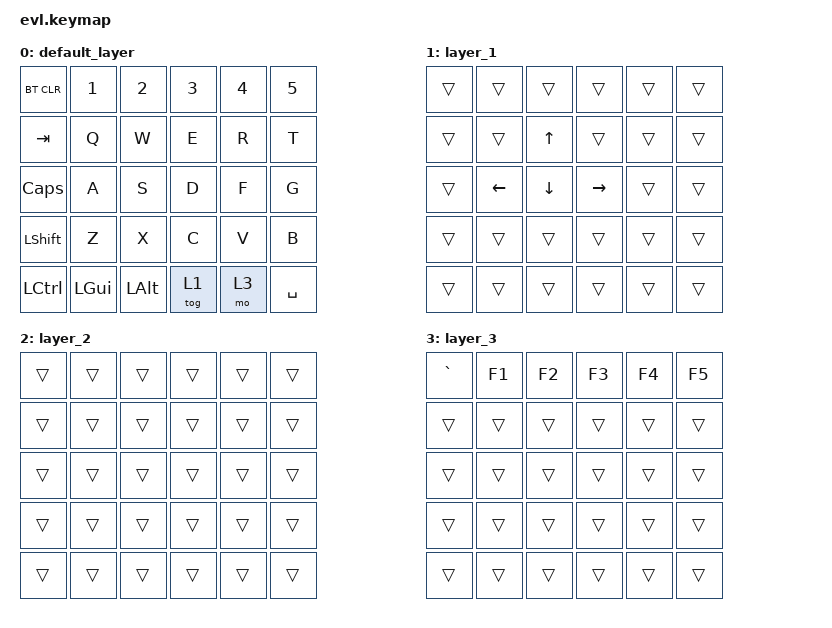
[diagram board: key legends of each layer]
/*
 * Copyright (c) 2020 The ZMK Contributors
 *
 * SPDX-License-Identifier: MIT
 */

#include <behaviors.dtsi>
#include <dt-bindings/zmk/keys.h>
#include <dt-bindings/zmk/bt.h>

/ {
    keymap {
        compatible = "zmk,keymap";

        default_layer: default_layer {
            bindings = <
                &bt BT_CLR  &kp N1   &kp N2   &kp N3   &kp N4   &kp N5
                &kp TAB     &kp Q    &kp W    &kp E    &kp R    &kp T
                &kp CAPS    &kp A    &kp S    &kp D    &kp F    &kp G
                &kp LSHFT   &kp Z    &kp X    &kp C    &kp V    &kp B
                &kp LCTRL   &kp LGUI &kp LALT &tog 1   &mo 3    &kp SPACE
            >;
        };

        layer_1 {
            bindings = <
                &trans     &trans       &trans       &trans       &trans       &trans
                &trans     &trans       &kp UP       &trans       &trans       &trans
                &trans     &kp LEFT     &kp DOWN     &kp RIGHT    &trans       &trans
                &trans     &trans       &trans       &trans       &trans       &trans
                &trans     &trans       &trans       &trans       &trans       &trans
            >;
        };

        layer_2 {
            bindings = <
                &trans    &trans   &trans &trans   &trans   &trans
                &trans    &trans   &trans &trans   &trans   &trans
                &trans    &trans   &trans &trans   &trans   &trans
                &trans    &trans   &trans &trans   &trans   &trans
                &trans    &trans   &trans &trans   &trans   &trans
            >;
        };

        layer_3 {
            bindings = <
                &kp GRAVE  &kp F1       &kp F2       &kp F3       &kp F4       &kp F5
                &trans     &trans       &trans       &trans       &trans       &trans
                &trans     &trans       &trans       &trans       &trans       &trans
                &trans     &trans       &trans       &trans       &trans       &trans
                &trans     &trans       &trans       &trans       &trans       &trans
               >;
        };
    };

    chosen {
        zmk,studio-layout = &default_layer;
        zmk,default-layer = &default_layer;
    };
};

